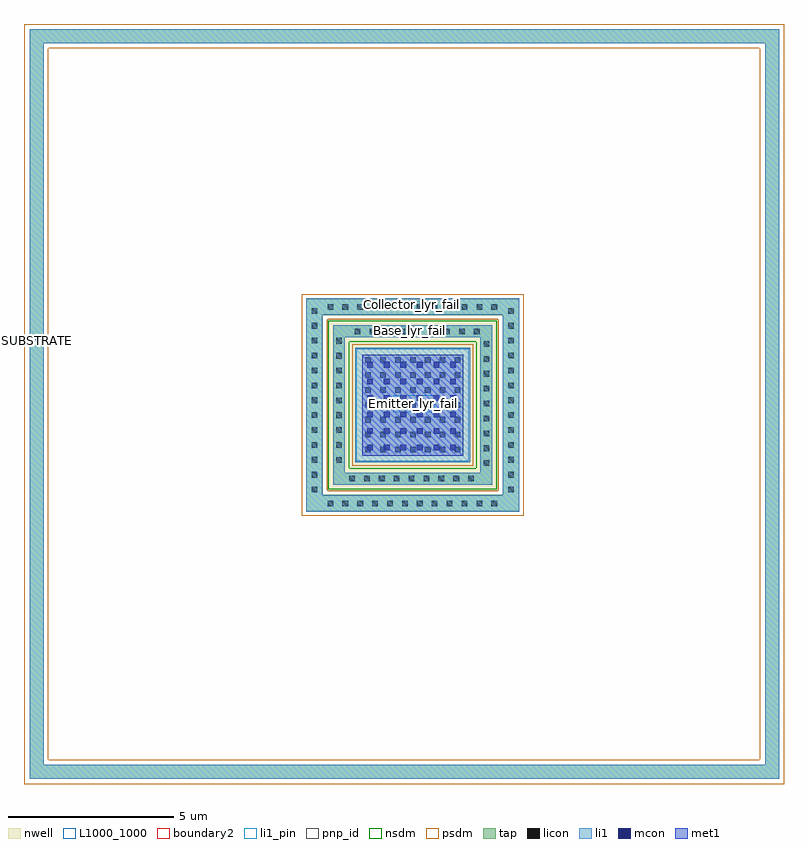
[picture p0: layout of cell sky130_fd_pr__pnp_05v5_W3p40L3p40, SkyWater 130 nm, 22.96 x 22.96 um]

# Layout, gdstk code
import gdstk
lib = gdstk.Library(unit=1e-6, precision=1e-09)
def R(c, l, rs):  # rectangles x0, y0, x1, y1
    for r in rs: c.add(gdstk.rectangle(r[:2], r[2:], *l))
def A(c, l, x, y, w, h, nx, ny, dx, dy):  # array of equal rectangles
    R(c, l, [(x+i*dx, y+j*dy, x+i*dx+w, y+j*dy+h) for i in range(nx) for j in range(ny)])
def P(c, l, *ps):  # polygons
    for p in ps: c.add(gdstk.Polygon(p, *l))
nwell = (64, 20)
tap = (65, 44)
licon = (66, 44)
li1_pin = (67, 16)
li1 = (67, 20)
mcon = (67, 44)
met1 = (68, 20)
pnp_id = (82, 44)
nsdm = (93, 44)
psdm = (94, 20)
boundary2 = (236, 0)
L1000_1000 = (1000, 1000)

sky130_fd_pr__pnp_05v5_w = lib.new_cell('sky130_fd_pr__pnp_05v5_W3p40L3p40')
R(sky130_fd_pr__pnp_05v5_w, nwell, [(0.765,0.765,5.935,5.935)])
P(sky130_fd_pr__pnp_05v5_w, tap, [(-8.222,-7.935),(-8.222,14.705),(13.998,14.705),(13.998,14.285),(-7.802,14.285),(-7.802,-7.515),(13.998,-7.515),(13.998,14.705),(14.418,14.705),(14.418,-7.935)],
  [(0.945,0.945),(0.945,5.755),(5.395,5.755),(5.395,5.395),(1.305,5.395),(1.305,1.305),(5.395,1.305),(5.395,5.755),(5.755,5.755),(5.755,0.945)],
  [(0.13,0.13),(0.13,6.57),(6.065,6.57),(6.065,6.065),(0.635,6.065),(0.635,0.635),(6.065,0.635),(6.065,6.57),(6.57,6.57),(6.57,0.13)])
A(sky130_fd_pr__pnp_05v5_w, licon, 0.78, 0.29, 0.17, 0.17, 12, 2, 0.45, 5.935)
A(sky130_fd_pr__pnp_05v5_w, licon, 0.3, 0.71, 0.17, 0.17, 1, 13, 0, 0.45)
A(sky130_fd_pr__pnp_05v5_w, licon, 6.235, 0.71, 0.17, 0.17, 1, 13, 0, 0.45)
A(sky130_fd_pr__pnp_05v5_w, licon, 1.43, 1.04, 0.17, 0.17, 9, 1, 0.45, 0)
A(sky130_fd_pr__pnp_05v5_w, licon, 5.49, 1.51, 0.17, 0.17, 1, 9, 0, 0.45)
A(sky130_fd_pr__pnp_05v5_w, licon, 1.04, 1.605, 0.17, 0.17, 1, 9, 0, 0.45)
A(sky130_fd_pr__pnp_05v5_w, licon, 1.92, 1.92, 0.17, 0.17, 7, 7, 0.45, 0.45)
A(sky130_fd_pr__pnp_05v5_w, licon, 1.6, 5.49, 0.17, 0.17, 9, 1, 0.45, 0)
R(sky130_fd_pr__pnp_05v5_w, li1_pin, [(2.77,3.13,4.01,3.65), (2.95,5.51,3.54,5.71), (3.065,6.26,3.57,6.505)])
A(sky130_fd_pr__pnp_05v5_w, li1, 0.58, 0.21, 0.33, 0.33, 12, 1, 0.45, 0)
A(sky130_fd_pr__pnp_05v5_w, li1, 0.675, 0.24, 0.27, 0.27, 11, 2, 0.5, 5.96)
A(sky130_fd_pr__pnp_05v5_w, li1, 6.16, 0.54, 0.33, 0.33, 1, 13, 0, 0.45)
A(sky130_fd_pr__pnp_05v5_w, li1, 0.22, 0.63, 0.33, 0.33, 1, 13, 0, 0.45)
A(sky130_fd_pr__pnp_05v5_w, li1, 1.35, 0.96, 0.33, 0.33, 9, 1, 0.45, 0)
A(sky130_fd_pr__pnp_05v5_w, li1, 1.14, 0.985, 0.27, 0.27, 9, 1, 0.5, 0)
A(sky130_fd_pr__pnp_05v5_w, li1, 5.41, 1.43, 0.33, 0.33, 1, 9, 0, 0.45)
A(sky130_fd_pr__pnp_05v5_w, li1, 0.96, 1.525, 0.33, 0.33, 1, 9, 0, 0.45)
A(sky130_fd_pr__pnp_05v5_w, li1, 1.84, 1.84, 0.33, 0.33, 7, 7, 0.45, 0.45)
A(sky130_fd_pr__pnp_05v5_w, li1, 1.93, 1.93, 0.27, 0.27, 6, 6, 0.5, 0.5)
A(sky130_fd_pr__pnp_05v5_w, li1, 1.52, 5.41, 0.33, 0.33, 9, 1, 0.45, 0)
A(sky130_fd_pr__pnp_05v5_w, li1, 1.155, 5.44, 0.27, 0.27, 9, 1, 0.5, 0)
A(sky130_fd_pr__pnp_05v5_w, li1, 0.7, 6.165, 0.33, 0.33, 12, 1, 0.45, 0)
R(sky130_fd_pr__pnp_05v5_w, li1, [(1.615,1.615,5.085,5.085), (1.65,1.65,5.05,5.05)])
P(sky130_fd_pr__pnp_05v5_w, li1, [(-8.222,-7.935),(-8.222,14.705),(13.998,14.705),(13.998,14.285),(-7.802,14.285),(-7.802,-7.515),(13.998,-7.515),(13.998,14.705),(14.418,14.705),(14.418,-7.935)],
  [(0.13,0.13),(0.13,6.57),(6.075,6.57),(6.075,6.075),(0.625,6.075),(0.625,0.625),(6.075,0.625),(6.075,6.57),(6.57,6.57),(6.57,0.13)],
  [(0.945,0.945),(0.945,5.755),(5.395,5.755),(5.395,5.395),(1.305,5.395),(1.305,1.305),(5.395,1.305),(5.395,5.755),(5.755,5.755),(5.755,0.945)])
A(sky130_fd_pr__pnp_05v5_w, mcon, 1.98, 1.98, 0.17, 0.17, 6, 6, 0.5, 0.5)
R(sky130_fd_pr__pnp_05v5_w, mcon, [(-8.091,5.247,-7.921,5.417)])
A(sky130_fd_pr__pnp_05v5_w, met1, 1.93, 1.93, 0.27, 0.27, 6, 6, 0.5, 0.5)
R(sky130_fd_pr__pnp_05v5_w, met1, [(1.825,1.825,4.875,4.875)])
R(sky130_fd_pr__pnp_05v5_w, pnp_id, [(0.135,0.135,6.565,6.565)])
P(sky130_fd_pr__pnp_05v5_w, nsdm, [(0.805,0.805),(0.805,5.895),(5.265,5.895),(5.265,5.265),(1.435,5.265),(1.435,1.435),(5.265,1.435),(5.265,5.895),(5.895,5.895),(5.895,0.805)])
R(sky130_fd_pr__pnp_05v5_w, psdm, [(1.52,1.52,5.18,5.18)])
P(sky130_fd_pr__pnp_05v5_w, psdm, [(-8.392,-8.099),(-8.392,14.861),(13.828,14.861),(13.828,14.121),(-7.652,14.121),(-7.652,-7.359),(13.828,-7.359),(13.828,14.861),(14.568,14.861),(14.568,-8.099)],
  [(0,0),(0,6.7),(5.935,6.7),(5.935,5.935),(0.765,5.935),(0.765,0.765),(5.935,0.765),(5.935,6.7),(6.7,6.7),(6.7,0)])
R(sky130_fd_pr__pnp_05v5_w, boundary2, [(0.13,0.13,6.57,6.57)])
R(sky130_fd_pr__pnp_05v5_w, L1000_1000, [(1.65,1.65,5.05,5.05)])
sky130_fd_pr__pnp_05v5_w.add(gdstk.Label('Emitter_lyr_fail', (3.39,3.39), layer=67, texttype=5))
sky130_fd_pr__pnp_05v5_w.add(gdstk.Label('Collector_lyr_fail', (3.32,6.38), layer=67, texttype=5))
sky130_fd_pr__pnp_05v5_w.add(gdstk.Label('Base_lyr_fail', (3.245,5.61), layer=67, texttype=5))
sky130_fd_pr__pnp_05v5_w.add(gdstk.Label('SUBSTRATE', (-8.023,5.31), layer=67, texttype=5))

lib.write_gds('sky130_fd_pr__pnp_05v5_W3p40L3p40.gds')
